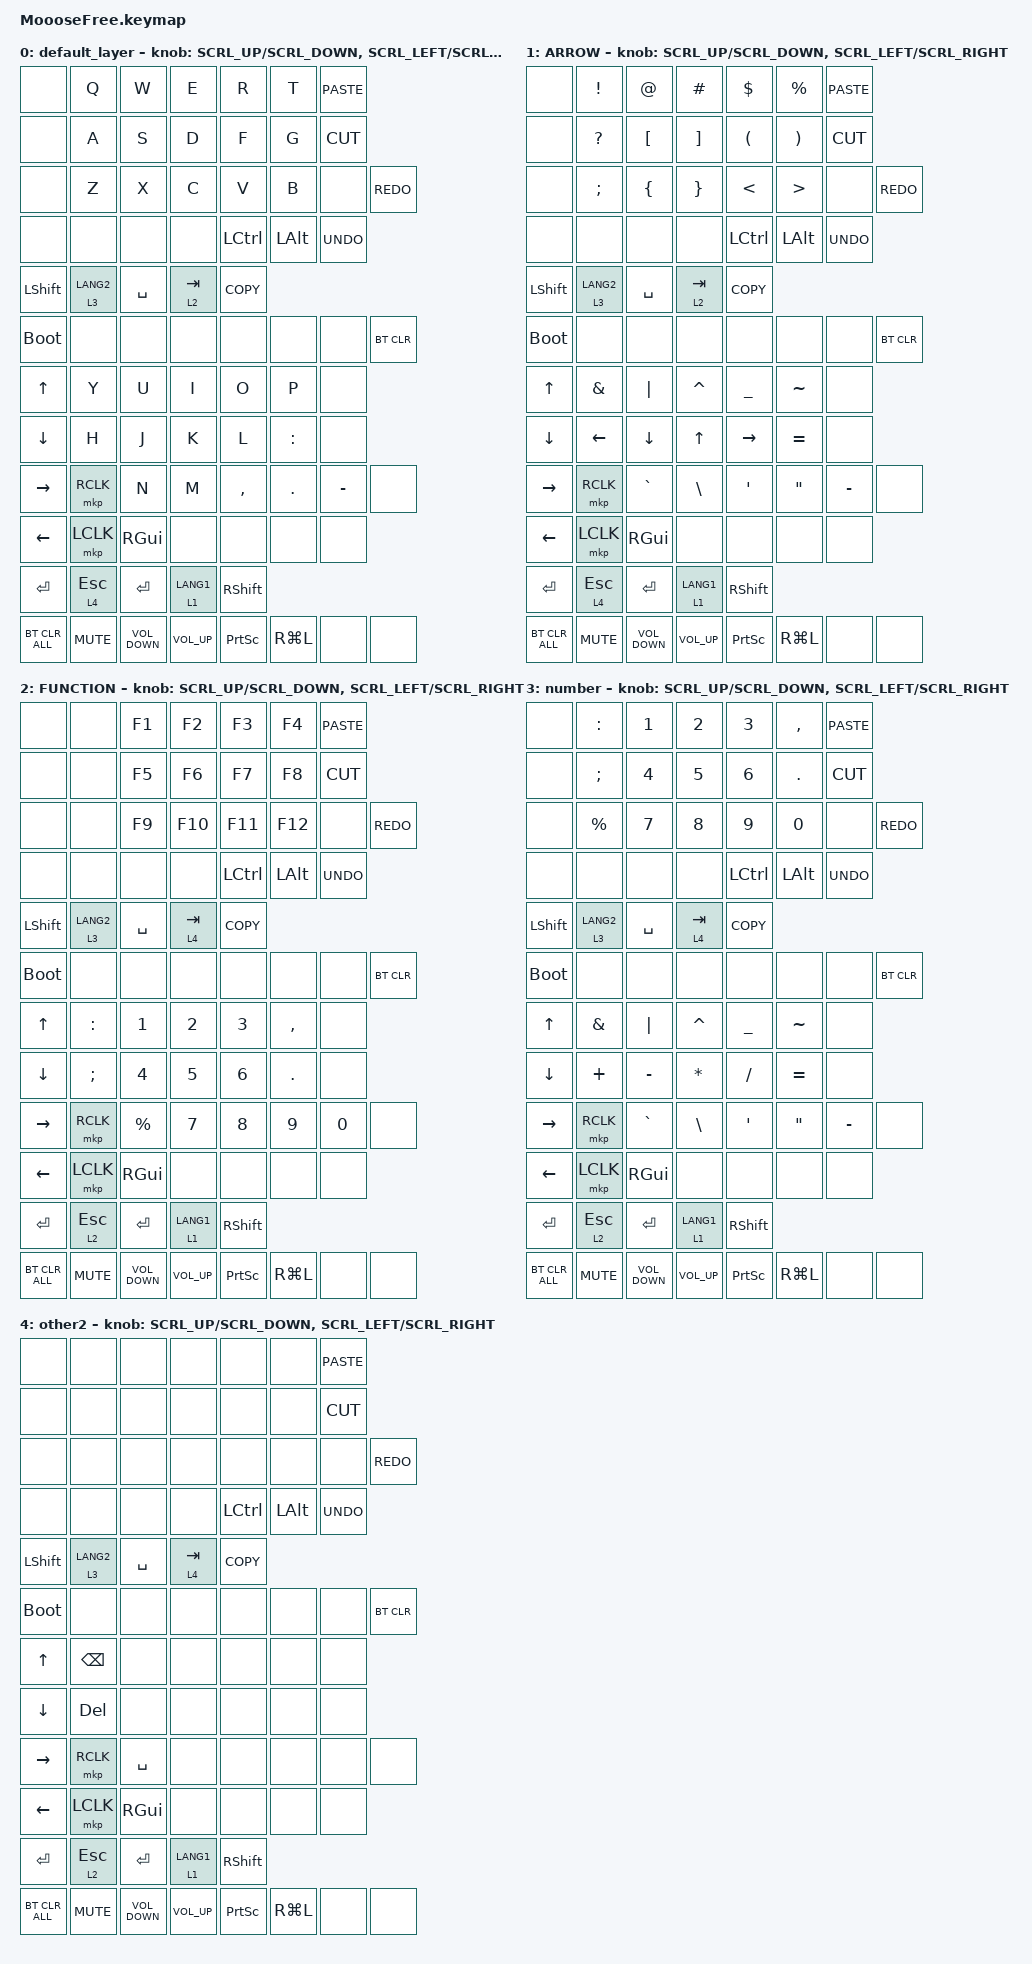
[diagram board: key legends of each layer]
#include <dt-bindings/zmk/mouse.h>
#include <behaviors/rgbled_widget.dtsi>
#include <zephyr/dt-bindings/input/input-event-codes.h>
#include <behaviors.dtsi>
#include <dt-bindings/zmk/bt.h>
#include <dt-bindings/zmk/keys.h>
#include <dt-bindings/zmk/pointing.h>

#define ZMK_POINTING_DEFAULT_SCRL_VAL 100

// Leyer

#define ARROW 1
#define FUNCTION 2
#define AHK 3
#define NUM 4

// Japanese

#define JP_MINUS MINUS        // -
#define JP_CARET EQUAL        // ^
#define JP_YEN   INT3         // ¥
#define JP_AT    LBKT         // @
#define JP_LBKT  RBKT         // [
#define JP_EISU  CAPS         // Eisu (英数)
#define JP_SEMI  SEMI         // ;
#define JP_COLON SQT          // :
#define JP_RBKT  NUHS         // ]
#define JP_COMMA COMMA        // ,
#define JP_DOT   DOT          // .
#define JP_SLASH SLASH        // /
#define JP_BSLH  INT1         // (backslash)
#define JP_MHEN  INT5         // Muhenkan (無変換)
#define JP_HENK  INT4         // Henkan (変換)
#define JP_EXCL  LS(N1)       // !
#define JP_DQT   LS(N2)       // "
#define JP_HASH  LS(N3)       // #
#define JP_DLLR  LS(N4)       // $
#define JP_PRCNT LS(N5)       // %
#define JP_AMPS  LS(N6)       // &
#define JP_SQT   LS(N7)       // '
#define JP_LPAR  LS(N8)       // (
#define JP_RPAR  LS(N9)       // )
#define JP_EQUAL LS(JP_MINUS) // =
#define JP_TILDE LS(JP_CARET) // ~
#define JP_PIPE  LS(JP_YEN)   // |
#define JP_GRAVE LS(JP_AT)    // `
#define JP_LBRC  LS(JP_LBKT)  // {
#define JP_CAPS  LS(JP_EISU)  // Caps Lock
#define JP_PLUS  LS(JP_SEMI)  // +
#define JP_ASTRK LS(JP_COLON) // *
#define JP_RBRC  LS(JP_RBKT)  // }
#define JP_LT    LS(JP_COMMA) // <
#define JP_RT    LS(JP_DOT)   // >
#define JP_QMARK LS(JP_SLASH) // ?
#define JP_UNDER LS(JP_BSLH)  // _

/ {
    macros {
        to_layer_0: to_layer_0 {
            compatible = "zmk,behavior-macro-one-param";
            #binding-cells = <1>;
            bindings = <&to 0 &macro_param_1to1 &kp MACRO_PLACEHOLDER>;
            label = "TO_LAYER_0";
        };

        my_sp: my_sp {
            compatible = "zmk,behavior-macro";
            #binding-cells = <0>;
            bindings = <&macro_tap>, <&kp JP_MHEN>, <&macro_tap>, <&kp LS(N3)>;
        };

        my_dq: my_dq {
            #binding-cells = <0>;
            compatible = "zmk,behavior-macro";
            bindings =
                <&macro_tap>,
                <&kp JP_MHEN>,
                <&macro_tap>,
                <&kp LS(N2)>,
                <&macro_tap>,
                <&kp LS(N2)>;
        };

        my_sq: my_sq {
            #binding-cells = <0>;
            compatible = "zmk,behavior-macro";
            bindings =
                <&macro_tap>,
                <&kp JP_MHEN>,
                <&macro_tap>,
                <&kp LS(N7)>,
                <&macro_tap>,
                <&kp LS(N7)>;
        };

        my_kakko: my_kakko {
            compatible = "zmk,behavior-macro";
            #binding-cells = <0>;
            bindings =
                <&macro_tap>,
                <&kp JP_MHEN>,
                <&macro_tap>,
                <&kp LS(N8)>,
                <&macro_tap>,
                <&kp LS(N9)>;
        };

        my_br: my_br {
            compatible = "zmk,behavior-macro";
            #binding-cells = <0>;
            bindings =
                <&macro_tap>,
                <&kp JP_MHEN>,
                <&macro_tap>,
                <&kp JP_LT>,
                <&macro_tap>,
                <&kp B>,
                <&macro_tap>,
                <&kp R>,
                <&macro_tap>,
                <&kp JP_RT>;
        };
    };

    behaviors {
        lt_to_layer_0: lt_to_layer_0 {
            compatible = "zmk,behavior-hold-tap";
            label = "LAYER_TAP_TO_0";
            bindings = <&mo>, <&to_layer_0>;

            #binding-cells = <2>;
            tapping-term-ms = <200>;
        };

        lt_mkp: lt_mkp {
            compatible = "zmk,behavior-hold-tap";
            label = "LAYER_TAP_MKP";
            bindings = <&mo>, <&mkp>;

            #binding-cells = <2>;
            tapping-term-ms = <200>;
        };

        rot_kp: sensor_rotate_kp {
            compatible = "zmk,behavior-sensor-rotate-var";
            #sensor-binding-cells = <2>;
            bindings = <&kp>, <&kp>;

            tap-ms = <20>;
        };

        rot_mkp: sensor_rotate_mkp {
            compatible = "zmk,behavior-sensor-rotate-var";
            #sensor-binding-cells = <2>;
            bindings = <&mkp>, <&mkp>;

            tap-ms = <20>;
        };

        mouse_scroll: mouse_wheel_scrl {
            compatible = "zmk,behavior-sensor-rotate-var";
            #sensor-binding-cells = <2>;
            bindings = <&msc>, <&msc>;

            tap-ms = <20>;
        };

        mouse_scroll2: mouse_wheel_scrl2 {
            compatible = "zmk,behavior-sensor-rotate-var";
            #sensor-binding-cells = <2>;
            bindings = <&msc>, <&msc>;

            tap-ms = <16>;
        };
    };

    keymap {
        compatible = "zmk,keymap";

        default_layer {
            bindings = <
&none           &kp Q                    &kp W              &kp E                 &kp R             &kp T         &kp K_PASTE
&none           &kp A                    &kp S              &kp D                 &kp F             &kp G         &kp K_CUT
&none           &kp Z                    &kp X              &kp C                 &kp V             &kp B         &none        &kp K_REDO
&none           &none                    &none              &none                 &kp LEFT_CONTROL  &kp LEFT_ALT  &kp K_UNDO
&kp LSHIFT      &lt_to_layer_0 3 LANG2   &kp SPACE          &lt_to_layer_0 2 TAB  &kp K_COPY
&bootloader     &none                    &none              &none                 &none             &none         &none        &bt BT_CLR
&kp UP          &kp Y                    &kp U              &kp I                 &kp O             &kp P         &none
&kp DOWN        &kp H                    &kp J              &kp K                 &kp L             &kp COLON     &none
&kp RIGHT       &mkp RCLK                &kp N              &kp M                 &kp COMMA         &kp PERIOD    &kp MINUS    &none
&kp LEFT        &mkp LCLK                &kp RIGHT_GUI      &none                 &none             &none         &none
&kp ENTER       &lt_to_layer_0 4 ESCAPE  &kp ENTER          &lt 1 LANG1           &kp RIGHT_SHIFT
&bt BT_CLR_ALL  &kp K_MUTE               &kp C_VOLUME_DOWN  &kp C_VOLUME_UP       &kp PRINTSCREEN   &kp RG(L)     &none        &none
            >;

            sensor-bindings =
                <&mouse_scroll2 SCRL_UP SCRL_DOWN>,
                <&mouse_scroll SCRL_LEFT SCRL_RIGHT>;
        };

        ARROW {
            bindings = <
&none           &kp EXCL                 &kp AT             &kp HASH              &kp DLLR          &kp PRCNT     &kp K_PASTE
&none           &kp QMARK                &kp LBKT           &kp RBKT              &kp LPAR          &kp RPAR      &kp K_CUT
&none           &kp SEMICOLON            &kp LBRC           &kp RBRC              &kp LT            &kp GT        &none        &kp K_REDO
&none           &none                    &none              &none                 &kp LEFT_CONTROL  &kp LEFT_ALT  &kp K_UNDO
&kp LSHIFT      &lt_to_layer_0 3 LANG2   &kp SPACE          &lt_to_layer_0 2 TAB  &kp K_COPY
&bootloader     &none                    &none              &none                 &none             &none         &none        &bt BT_CLR
&kp UP          &kp AMPS                 &kp PIPE           &kp CARET             &kp UNDER         &kp TILDE     &none
&kp DOWN        &kp LEFT                 &kp DOWN           &kp UP                &kp RIGHT         &kp EQUAL     &none
&kp RIGHT       &mkp RCLK                &kp GRAVE          &kp BSLH              &kp SQT           &kp DQT       &kp MINUS    &none
&kp LEFT        &mkp LCLK                &kp RIGHT_GUI      &none                 &none             &none         &none
&kp ENTER       &lt_to_layer_0 4 ESCAPE  &kp ENTER          &lt 1 LANG1           &kp RIGHT_SHIFT
&bt BT_CLR_ALL  &kp K_MUTE               &kp C_VOLUME_DOWN  &kp C_VOLUME_UP       &kp PRINTSCREEN   &kp RG(L)     &none        &none
            >;

            sensor-bindings =
                <&mouse_scroll2 SCRL_UP SCRL_DOWN>,
                <&mouse_scroll SCRL_LEFT SCRL_RIGHT>;
        };

        FUNCTION {
            bindings = <
&none           &none                    &kp F1             &kp F2                &kp F3            &kp F4        &kp K_PASTE
&none           &none                    &kp F5             &kp F6                &kp F7            &kp F8        &kp K_CUT
&none           &none                    &kp F9             &kp F10               &kp F11           &kp F12       &none        &kp K_REDO
&none           &none                    &none              &none                 &kp LEFT_CONTROL  &kp LEFT_ALT  &kp K_UNDO
&kp LSHIFT      &lt_to_layer_0 3 LANG2   &kp SPACE          &lt_to_layer_0 4 TAB  &kp K_COPY
&bootloader     &none                    &none              &none                 &none             &none         &none        &bt BT_CLR
&kp UP          &kp COLON                &kp N1             &kp N2                &kp N3            &kp COMMA     &none
&kp DOWN        &kp SEMI                 &kp N4             &kp N5                &kp N6            &kp DOT       &none
&kp RIGHT       &mkp RCLK                &kp PRCNT          &kp N7                &kp N8            &kp N9        &kp N0       &none
&kp LEFT        &mkp LCLK                &kp RIGHT_GUI      &none                 &none             &none         &none
&kp ENTER       &lt_to_layer_0 2 ESCAPE  &kp ENTER          &lt 1 LANG1           &kp RIGHT_SHIFT
&bt BT_CLR_ALL  &kp K_MUTE               &kp C_VOLUME_DOWN  &kp C_VOLUME_UP       &kp PRINTSCREEN   &kp RG(L)     &none        &none
            >;

            sensor-bindings =
                <&mouse_scroll2 SCRL_UP SCRL_DOWN>,
                <&mouse_scroll SCRL_LEFT SCRL_RIGHT>;
        };

        number {
            bindings = <
&none           &kp COLON                &kp N1             &kp N2                &kp N3            &kp COMMA     &kp K_PASTE
&none           &kp SEMI                 &kp N4             &kp N5                &kp N6            &kp DOT       &kp K_CUT
&none           &kp PRCNT                &kp N7             &kp N8                &kp N9            &kp N0        &none        &kp K_REDO
&none           &none                    &none              &none                 &kp LEFT_CONTROL  &kp LEFT_ALT  &kp K_UNDO
&kp LSHIFT      &lt_to_layer_0 3 LANG2   &kp SPACE          &lt_to_layer_0 4 TAB  &kp K_COPY
&bootloader     &none                    &none              &none                 &none             &none         &none        &bt BT_CLR
&kp UP          &kp AMPS                 &kp PIPE           &kp CARET             &kp UNDER         &kp TILDE     &none
&kp DOWN        &kp PLUS                 &kp MINUS          &kp ASTRK             &kp FSLH          &kp EQUAL     &none
&kp RIGHT       &mkp RCLK                &kp GRAVE          &kp BSLH              &kp SQT           &kp DQT       &kp MINUS    &none
&kp LEFT        &mkp LCLK                &kp RIGHT_GUI      &none                 &none             &none         &none
&kp ENTER       &lt_to_layer_0 2 ESCAPE  &kp ENTER          &lt 1 LANG1           &kp RIGHT_SHIFT
&bt BT_CLR_ALL  &kp K_MUTE               &kp C_VOLUME_DOWN  &kp C_VOLUME_UP       &kp PRINTSCREEN   &kp RG(L)     &none        &none
            >;

            sensor-bindings =
                <&mouse_scroll2 SCRL_UP SCRL_DOWN>,
                <&mouse_scroll SCRL_LEFT SCRL_RIGHT>;
        };

        other2 {
            bindings = <
&none           &none                    &none              &none                 &none             &none         &kp K_PASTE
&none           &none                    &none              &none                 &none             &none         &kp K_CUT
&none           &none                    &none              &none                 &none             &none         &none        &kp K_REDO
&none           &none                    &none              &none                 &kp LEFT_CONTROL  &kp LEFT_ALT  &kp K_UNDO
&kp LSHIFT      &lt_to_layer_0 3 LANG2   &kp SPACE          &lt_to_layer_0 4 TAB  &kp K_COPY
&bootloader     &none                    &none              &none                 &none             &none         &none        &bt BT_CLR
&kp UP          &kp BACKSPACE            &none              &none                 &none             &none         &none
&kp DOWN        &kp DELETE               &none              &none                 &none             &none         &none
&kp RIGHT       &mkp RCLK                &kp SPACE          &none                 &none             &none         &none        &none
&kp LEFT        &mkp LCLK                &kp RIGHT_GUI      &none                 &none             &none         &none
&kp ENTER       &lt_to_layer_0 2 ESCAPE  &kp ENTER          &lt 1 LANG1           &kp RIGHT_SHIFT
&bt BT_CLR_ALL  &kp K_MUTE               &kp C_VOLUME_DOWN  &kp C_VOLUME_UP       &kp PRINTSCREEN   &kp RG(L)     &none        &none
            >;

            sensor-bindings =
                <&mouse_scroll2 SCRL_UP SCRL_DOWN>,
                <&mouse_scroll SCRL_LEFT SCRL_RIGHT>;
        };
    };
};
